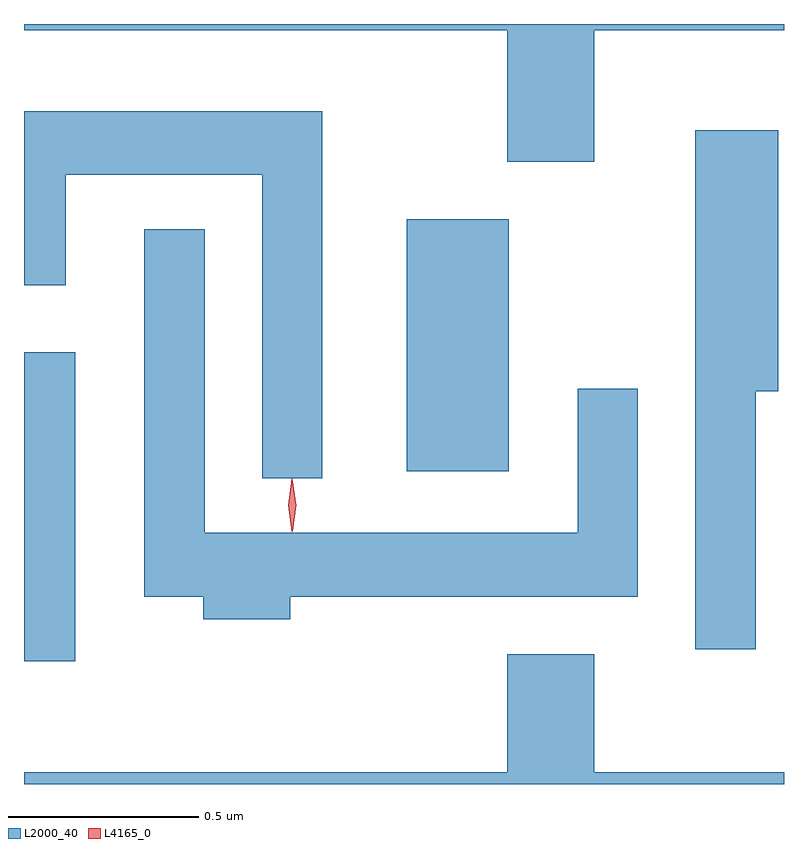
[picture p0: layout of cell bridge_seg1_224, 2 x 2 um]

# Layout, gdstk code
import gdstk
lib = gdstk.Library(unit=1e-6, precision=1e-09)
def R(c, l, rs):  # rectangles x0, y0, x1, y1
    for r in rs: c.add(gdstk.rectangle(r[:2], r[2:], *l))
def P(c, l, *ps):  # polygons
    for p in ps: c.add(gdstk.Polygon(p, *l))
L2000_40 = (2000, 40)
L4165_0 = (4165, 0)

bridge_seg1_224 = lib.new_cell('bridge_seg1_224')
R(bridge_seg1_224, L2000_40, [(834.369,882.376,834.504,883.189), (835.376,882.876,835.644,883.539)])
P(bridge_seg1_224, L2000_40, [(835.869,884.036),(836.369,884.036),(836.369,884.053),(834.369,884.053),(834.369,884.036),(835.641,884.036),(835.641,883.691),(835.869,883.691)],
  [(835.154,883.824),(834.369,883.824),(834.369,883.366),(834.479,883.366),(834.479,883.656),(834.996,883.656),(834.996,882.858),(835.154,882.858)],
  [(836.294,883.086),(836.354,883.086),(836.354,883.774),(836.136,883.774),(836.136,882.408),(836.294,882.408)],
  [(835.069,882.546),(835.984,882.546),(835.984,883.093),(835.826,883.093),(835.826,882.714),(834.844,882.714),(834.844,883.513),(834.686,883.513),(834.686,882.546),(834.841,882.546),(834.841,882.486),(835.069,882.486)],
  [(836.369,882.084),(835.869,882.084),(835.869,882.394),(835.641,882.394),(835.641,882.084),(834.369,882.084),(834.369,882.053),(836.369,882.053)])
P(bridge_seg1_224, L4165_0, [(835.075,882.719),(835.075,882.72),(835.065,882.786),(835.074,882.852),(835.075,882.853),(835.075,882.852),(835.085,882.786),(835.076,882.72)],
  [(835.074,882.717),(835.065,882.787),(835.074,882.856),(835.075,882.856),(835.075,882.856),(835.085,882.787),(835.075,882.717),(835.075,882.717)])

lib.write_gds('bridge_seg1_224.gds')
